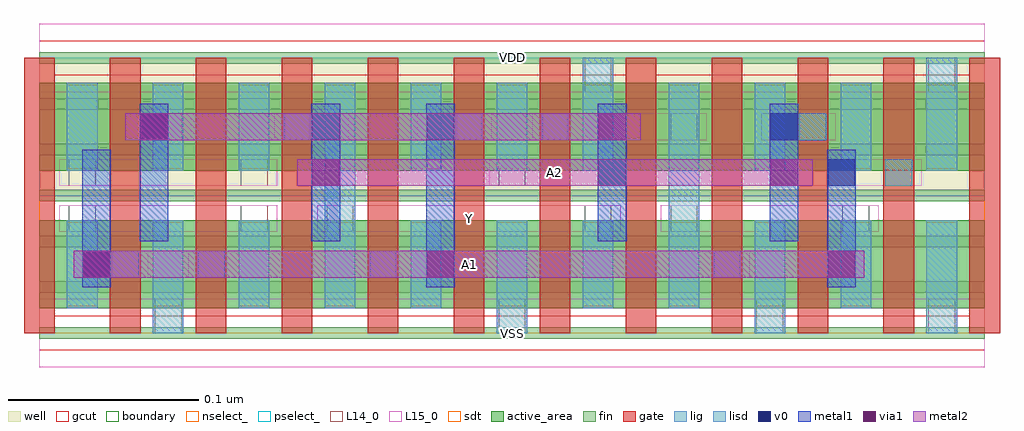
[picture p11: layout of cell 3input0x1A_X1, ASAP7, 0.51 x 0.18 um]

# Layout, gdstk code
import gdstk
lib = gdstk.Library(unit=1e-6, precision=2.5e-10)
def R(c, l, rs):  # rectangles x0, y0, x1, y1
    for r in rs: c.add(gdstk.rectangle(r[:2], r[2:], *l))
def A(c, l, x, y, w, h, nx, ny, dx, dy):  # array of equal rectangles
    R(c, l, [(x+i*dx, y+j*dy, x+i*dx+w, y+j*dy+h) for i in range(nx) for j in range(ny)])
def P(c, l, *ps):  # polygons
    for p in ps: c.add(gdstk.Polygon(p, *l))
well = (1, 0)
fin = (2, 0)
gate = (7, 0)
gcut = (10, 0)
active_area = (11, 0)
nselect_ = (12, 0)
pselect_ = (13, 0)
L14_0 = (14, 0)
L15_0 = (15, 0)
lig = (16, 0)
lisd = (17, 0)
v0 = (18, 0)
metal1 = (19, 0)
metal2 = (20, 0)
via1 = (21, 0)
sdt = (88, 0)
boundary = (100, 0)

c_3input0x1a_x1 = lib.new_cell('3input0x1A_X1')
R(c_3input0x1a_x1, well, [(0,0.072,0.495,0.144)])
A(c_3input0x1a_x1, fin, 0, -0.003, 0.495, 0.006, 1, 7, 0, 0.024)
A(c_3input0x1a_x1, gate, -0.008, 0, 0.016, 0.144, 12, 1, 0.045, 0)
P(c_3input0x1a_x1, gcut, [(0,-0.009),(0,0),(-0.008,0),(-0.008,0.135),(0.008,0.135),(0.008,0.009),(0.307,0.009),(0.307,0.135),(0.323,0.135),(0.323,0.009),(0.487,0.009),(0.487,0.135),(-0.008,0.135),(-0.008,0.144),(0,0.144),(0,0.153),(0.495,0.153),(0.495,0.144),(0.503,0.144),(0.503,0),(0.495,0),(0.495,-0.009)])
R(c_3input0x1a_x1, active_area, [(0,0.013,0.495,0.059), (0,0.085,0.495,0.131)])
R(c_3input0x1a_x1, nselect_, [(0,0,0.495,0.072)])
R(c_3input0x1a_x1, pselect_, [(0,0.072,0.495,0.144)])
A(c_3input0x1a_x1, L14_0, 0.263, 0.101, 0.014, 0.014, 3, 1, 0.0675, 0)
R(c_3input0x1a_x1, L14_0, [(0.0605,0,0.0745,0.018), (0.2405,0,0.2545,0.018), (0.3755,0,0.3895,0.018), (0.4655,0,0.4795,0.018), (0.038,0.029,0.052,0.043), (0.083,0.029,0.097,0.043), (0.173,0.029,0.187,0.043), (0.353,0.029,0.367,0.043), (0.0155,0.053,0.0295,0.067), (0.1055,0.053,0.1195,0.067), (0.1505,0.053,0.1645,0.067), (0.2855,0.053,0.2995,0.067), (0.3305,0.053,0.3445,0.067), (0.4205,0.053,0.4345,0.067), (0.0155,0.077,0.0295,0.091), (0.1055,0.077,0.1195,0.091), (0.2405,0.077,0.2545,0.091), (0.443,0.077,0.457,0.091), (0.0605,0.101,0.0745,0.115), (0.128,0.101,0.142,0.115), (0.218,0.101,0.232,0.115), (0.2855,0.126,0.2995,0.144), (0.4655,0.126,0.4795,0.144)])
R(c_3input0x1a_x1, L15_0, [(0,-0.018,0.495,0.018), (0.018,0.029,0.057,0.043), (0.078,0.029,0.372,0.043), (0.0105,0.053,0.1245,0.067), (0.1455,0.053,0.3045,0.067), (0.3255,0.053,0.4395,0.067), (0.0105,0.077,0.1245,0.091), (0.2355,0.077,0.315,0.091), (0.405,0.077,0.462,0.091), (0.045,0.101,0.0795,0.115), (0.123,0.101,0.162,0.115), (0.198,0.101,0.237,0.115), (0.258,0.101,0.3495,0.115), (0.378,0.101,0.417,0.115), (0,0.126,0.495,0.162)])
R(c_3input0x1a_x1, lig, [(0.038,0.029,0.052,0.043), (0.083,0.029,0.097,0.043), (0.173,0.029,0.187,0.043), (0.353,0.029,0.367,0.043), (0.443,0.077,0.457,0.091), (0.128,0.101,0.142,0.115), (0.218,0.101,0.232,0.115), (0.263,0.101,0.277,0.115), (0.398,0.101,0.412,0.115)])
A(c_3input0x1a_x1, lisd, 0.0145, 0.013, 0.016, 0.046, 4, 1, 0.09, 0)
A(c_3input0x1a_x1, lisd, 0.0145, 0.085, 0.016, 0.046, 3, 1, 0.045, 0)
R(c_3input0x1a_x1, lisd, [(0.0595,0,0.0755,0.059), (0.2395,0,0.2555,0.059), (0.3745,0,0.3905,0.059), (0.4645,0,0.4805,0.059), (0.1495,0.013,0.1655,0.131), (0.3295,0.013,0.3455,0.131), (0.4195,0.013,0.4355,0.059), (0.1945,0.085,0.2105,0.131), (0.2395,0.085,0.2555,0.131), (0.2845,0.085,0.3005,0.144), (0.3745,0.085,0.3905,0.131), (0.4195,0.085,0.4355,0.131), (0.4645,0.085,0.4805,0.144)])
R(c_3input0x1a_x1, v0, [(0.023,0.029,0.037,0.043), (0.293,0.077,0.307,0.091), (0.413,0.077,0.427,0.091), (0.053,0.101,0.067,0.115), (0.143,0.101,0.157,0.115), (0.203,0.101,0.217,0.115), (0.383,0.101,0.397,0.115)])
R(c_3input0x1a_x1, metal1, [(0.0225,0.024,0.0375,0.096), (0.2025,0.024,0.2175,0.12), (0.4125,0.024,0.4275,0.096), (0.0525,0.048,0.0675,0.12), (0.1425,0.048,0.1575,0.12), (0.2925,0.048,0.3075,0.12), (0.3825,0.048,0.3975,0.12)])
R(c_3input0x1a_x1, metal2, [(0.018,0.029,0.432,0.043), (0.135,0.077,0.405,0.091), (0.045,0.101,0.315,0.115)])
R(c_3input0x1a_x1, via1, [(0.023,0.029,0.037,0.043), (0.203,0.029,0.217,0.043), (0.413,0.029,0.427,0.043), (0.143,0.077,0.157,0.091), (0.383,0.077,0.397,0.091), (0.053,0.101,0.067,0.115), (0.293,0.101,0.307,0.115)])
A(c_3input0x1a_x1, sdt, 0.0145, 0.014, 0.016, 0.044, 11, 2, 0.045, 0.072)
R(c_3input0x1a_x1, boundary, [(0,0,0.495,0.144)])
c_3input0x1a_x1.add(gdstk.Label('VSS', (0.2475,0), layer=15, texttype=251))
c_3input0x1a_x1.add(gdstk.Label('VDD', (0.2475,0.144), layer=15, texttype=251))
c_3input0x1a_x1.add(gdstk.Label('VSS', (0.2475,0), layer=15, texttype=251))
c_3input0x1a_x1.add(gdstk.Label('VDD', (0.2475,0.144), layer=15, texttype=251))
c_3input0x1a_x1.add(gdstk.Label('A1', (0.225,0.036), layer=15, texttype=251))
c_3input0x1a_x1.add(gdstk.Label('VSS', (0.2475,0), layer=15, texttype=251))
c_3input0x1a_x1.add(gdstk.Label('VDD', (0.2475,0.144), layer=15, texttype=251))
c_3input0x1a_x1.add(gdstk.Label('Y', (0.225,0.06), layer=15, texttype=251))
c_3input0x1a_x1.add(gdstk.Label('VSS', (0.2475,0), layer=15, texttype=251))
c_3input0x1a_x1.add(gdstk.Label('VDD', (0.2475,0.144), layer=15, texttype=251))
c_3input0x1a_x1.add(gdstk.Label('VSS', (0.2475,0), layer=3, texttype=251))
c_3input0x1a_x1.add(gdstk.Label('VSS', (0.2475,0), layer=3, texttype=251))
c_3input0x1a_x1.add(gdstk.Label('VSS', (0.2475,0), layer=3, texttype=251))
c_3input0x1a_x1.add(gdstk.Label('VSS', (0.2475,0), layer=3, texttype=251))
c_3input0x1a_x1.add(gdstk.Label('VDD', (0.2475,0.144), layer=1, texttype=251))
c_3input0x1a_x1.add(gdstk.Label('VDD', (0.2475,0.144), layer=1, texttype=251))
c_3input0x1a_x1.add(gdstk.Label('VDD', (0.2475,0.144), layer=1, texttype=251))
c_3input0x1a_x1.add(gdstk.Label('VDD', (0.2475,0.144), layer=1, texttype=251))
c_3input0x1a_x1.add(gdstk.Label('A3', (0.225,0.036), layer=20, texttype=251))
c_3input0x1a_x1.add(gdstk.Label('A2', (0.27,0.084), layer=20, texttype=251))

lib.write_gds('3input0x1A_X1.gds')
